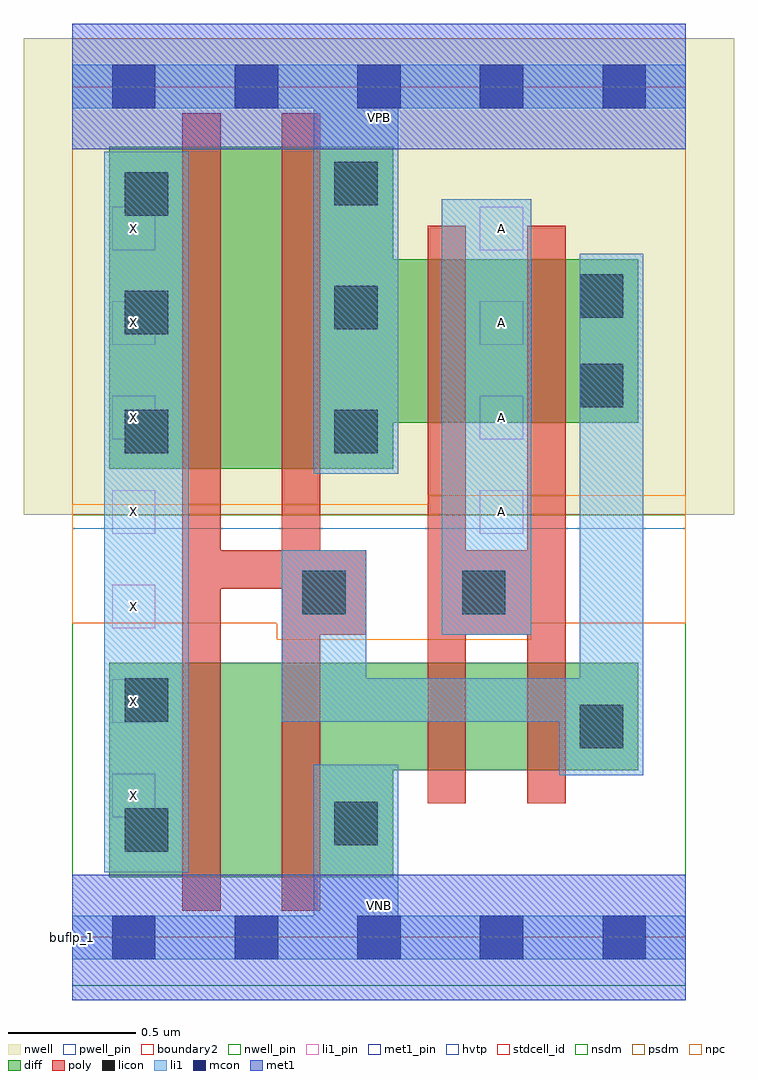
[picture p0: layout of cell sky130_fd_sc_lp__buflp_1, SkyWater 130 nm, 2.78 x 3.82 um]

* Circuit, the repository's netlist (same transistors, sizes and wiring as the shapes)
* Copyright 2020 The SkyWater PDK Authors
*
* Licensed under the Apache License, Version 2.0 (the "License");
* you may not use this file except in compliance with the License.
* You may obtain a copy of the License at
*
*     https://www.apache.org/licenses/LICENSE-2.0
*
* Unless required by applicable law or agreed to in writing, software
* distributed under the License is distributed on an "AS IS" BASIS,
* WITHOUT WARRANTIES OR CONDITIONS OF ANY KIND, either express or implied.
* See the License for the specific language governing permissions and
* limitations under the License.
*
* SPDX-License-Identifier: Apache-2.0

.SUBCKT sky130_fd_sc_lp__buflp_1 A VGND VNB VPB VPWR X
*.PININFO A:I VGND:I VNB:I VPB:I VPWR:I X:O
MI6 net24 Ab VGND VNB sky130_fd_pr__nfet_01v8 m=1 w=0.84U l=0.15U mult=1 sa=0.265
+ sb=0.265 sd=0.28 area=0.063 perim=1.14
MMIN1 Ab A net31 VNB sky130_fd_pr__nfet_01v8 m=1 w=0.42U l=0.15U mult=1 sa=0.265
+ sb=0.265 sd=0.28 area=0.063 perim=1.14
MMIN2 X Ab net24 VNB sky130_fd_pr__nfet_01v8 m=1 w=0.84U l=0.15U mult=1 sa=0.265
+ sb=0.265 sd=0.28 area=0.063 perim=1.14
MI7 net31 A VGND VNB sky130_fd_pr__nfet_01v8 m=1 w=0.42U l=0.15U mult=1 sa=0.265
+ sb=0.265 sd=0.28 area=0.063 perim=1.14
MMIP1 Ab A net47 VPB sky130_fd_pr__pfet_01v8_hvt m=1 w=0.64U l=0.15U mult=1 sa=0.265
+ sb=0.265 sd=0.28 area=0.063 perim=1.14
MI4 net47 A VPWR VPB sky130_fd_pr__pfet_01v8_hvt m=1 w=0.64U l=0.15U mult=1 sa=0.265
+ sb=0.265 sd=0.28 area=0.063 perim=1.14
MMIP2 X Ab net43 VPB sky130_fd_pr__pfet_01v8_hvt m=1 w=1.26U l=0.15U mult=1 sa=0.265
+ sb=0.265 sd=0.28 area=0.063 perim=1.14
MI5 net43 Ab VPWR VPB sky130_fd_pr__pfet_01v8_hvt m=1 w=1.26U l=0.15U mult=1 sa=0.265
+ sb=0.265 sd=0.28 area=0.063 perim=1.14
.ENDS sky130_fd_sc_lp__buflp_1

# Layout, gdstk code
import gdstk
lib = gdstk.Library(unit=1e-6, precision=1e-09)
def R(c, l, rs):  # rectangles x0, y0, x1, y1
    for r in rs: c.add(gdstk.rectangle(r[:2], r[2:], *l))
def A(c, l, x, y, w, h, nx, ny, dx, dy):  # array of equal rectangles
    R(c, l, [(x+i*dx, y+j*dy, x+i*dx+w, y+j*dy+h) for i in range(nx) for j in range(ny)])
def P(c, l, *ps):  # polygons
    for p in ps: c.add(gdstk.Polygon(p, *l))
nwell_pin = (64, 16)
nwell = (64, 20)
diff = (65, 20)
poly = (66, 20)
licon = (66, 44)
li1_pin = (67, 16)
li1 = (67, 20)
mcon = (67, 44)
met1_pin = (68, 16)
met1 = (68, 20)
hvtp = (78, 44)
stdcell_id = (81, 4)
nsdm = (93, 44)
psdm = (94, 20)
npc = (95, 20)
pwell_pin = (122, 16)
boundary2 = (236, 0)

sky130_fd_sc_lp__buflp_1 = lib.new_cell('sky130_fd_sc_lp__buflp_1')
R(sky130_fd_sc_lp__buflp_1, nwell_pin, [(0,3.085,2.4,3.33)])
R(sky130_fd_sc_lp__buflp_1, nwell, [(-0.19,1.655,2.59,3.52)])
P(sky130_fd_sc_lp__buflp_1, diff, [(2.215,2.655),(1.255,2.655),(1.255,3.095),(0.145,3.095),(0.145,1.835),(1.255,1.835),(1.255,2.015),(2.215,2.015)],
  [(2.215,1.075),(0.145,1.075),(0.145,0.235),(1.255,0.235),(1.255,0.655),(2.215,0.655)])
P(sky130_fd_sc_lp__buflp_1, poly, [(1.15,1.515),(0.97,1.515),(0.97,3.225),(0.82,3.225),(0.82,1.515),(0.58,1.515),(0.58,3.225),(0.43,3.225),(0.43,0.105),(0.58,0.105),(0.58,1.365),(0.82,1.365),(0.82,0.105),(0.97,0.105),(0.97,1.185),(1.15,1.185)],
  [(1.93,2.785),(1.78,2.785),(1.78,1.515),(1.54,1.515),(1.54,2.785),(1.39,2.785),(1.39,0.525),(1.54,0.525),(1.54,1.185),(1.78,1.185),(1.78,0.525),(1.93,0.525)])
A(sky130_fd_sc_lp__buflp_1, licon, 0.205, 1.895, 0.17, 0.17, 1, 3, 0, 0.465)
A(sky130_fd_sc_lp__buflp_1, licon, 1.025, 1.895, 0.17, 0.17, 1, 3, 0, 0.485)
R(sky130_fd_sc_lp__buflp_1, licon, [(0.205,0.335,0.375,0.505), (1.025,0.36,1.195,0.53), (1.985,0.74,2.155,0.91), (0.205,0.845,0.375,1.015), (0.9,1.265,1.07,1.435), (1.525,1.265,1.695,1.435), (1.985,2.075,2.155,2.245), (1.985,2.425,2.155,2.595)])
A(sky130_fd_sc_lp__buflp_1, li1_pin, 0.155, 0.47, 0.17, 0.17, 1, 7, 0, 0.37)
A(sky130_fd_sc_lp__buflp_1, li1_pin, 1.595, 1.58, 0.17, 0.17, 1, 4, 0, 0.37)
R(sky130_fd_sc_lp__buflp_1, li1, [(0.125,0.255,0.455,3.075), (1.445,1.185,1.795,2.89)])
P(sky130_fd_sc_lp__buflp_1, li1, [(0.945,1.815),(0.945,3.245),(0,3.245),(0,3.415),(2.4,3.415),(2.4,3.245),(1.275,3.245),(1.275,1.815)],
  [(0.945,0.085),(0.945,0.675),(1.275,0.675),(1.275,0.085),(2.4,0.085),(2.4,-0.085),(0,-0.085),(0,0.085)],
  [(0.82,0.845),(0.82,1.515),(1.15,1.515),(1.15,1.015),(1.985,1.015),(1.985,2.675),(2.235,2.675),(2.235,0.635),(1.905,0.635),(1.905,0.845)])
A(sky130_fd_sc_lp__buflp_1, mcon, 0.155, -0.085, 0.17, 0.17, 5, 2, 0.48, 3.33)
R(sky130_fd_sc_lp__buflp_1, met1_pin, [(0,0,2.4,0.245), (0,3.085,2.4,3.33)])
R(sky130_fd_sc_lp__buflp_1, met1, [(0,-0.245,2.4,0.245), (0,3.085,2.4,3.575)])
R(sky130_fd_sc_lp__buflp_1, hvtp, [(0,1.6,2.4,3.33)])
R(sky130_fd_sc_lp__buflp_1, stdcell_id, [(0,0,2.4,3.33)])
R(sky130_fd_sc_lp__buflp_1, nsdm, [(0,-0.19,2.4,1.655)])
R(sky130_fd_sc_lp__buflp_1, psdm, [(0,1.655,2.4,3.52)])
P(sky130_fd_sc_lp__buflp_1, npc, [(2.4,1.73),(1.395,1.73),(1.395,1.695),(0,1.695),(0,1.23),(0.8,1.23),(0.8,1.165),(1.795,1.165),(1.795,1.23),(2.4,1.23)])
R(sky130_fd_sc_lp__buflp_1, pwell_pin, [(0,0,2.4,0.245)])
R(sky130_fd_sc_lp__buflp_1, boundary2, [(0,0,2.4,3.33)])
sky130_fd_sc_lp__buflp_1.add(gdstk.Label('VNB', (1.2,0.123), layer=64, texttype=59))
sky130_fd_sc_lp__buflp_1.add(gdstk.Label('VPB', (1.2,3.208), layer=64, texttype=5))
sky130_fd_sc_lp__buflp_1.add(gdstk.Label('buflp_1', (0,0), layer=83, texttype=44))
sky130_fd_sc_lp__buflp_1.add(gdstk.Label('VPWR', (1.2,3.208), layer=68, texttype=5))
sky130_fd_sc_lp__buflp_1.add(gdstk.Label('VGND', (1.2,0.123), layer=68, texttype=5))
sky130_fd_sc_lp__buflp_1.add(gdstk.Label('A', (1.68,1.665), layer=67, texttype=5))
sky130_fd_sc_lp__buflp_1.add(gdstk.Label('A', (1.68,2.035), layer=67, texttype=5))
sky130_fd_sc_lp__buflp_1.add(gdstk.Label('A', (1.68,2.405), layer=67, texttype=5))
sky130_fd_sc_lp__buflp_1.add(gdstk.Label('A', (1.68,2.775), layer=67, texttype=5))
sky130_fd_sc_lp__buflp_1.add(gdstk.Label('X', (0.24,0.555), layer=67, texttype=5))
sky130_fd_sc_lp__buflp_1.add(gdstk.Label('X', (0.24,0.925), layer=67, texttype=5))
sky130_fd_sc_lp__buflp_1.add(gdstk.Label('X', (0.24,1.295), layer=67, texttype=5))
sky130_fd_sc_lp__buflp_1.add(gdstk.Label('X', (0.24,1.665), layer=67, texttype=5))
sky130_fd_sc_lp__buflp_1.add(gdstk.Label('X', (0.24,2.035), layer=67, texttype=5))
sky130_fd_sc_lp__buflp_1.add(gdstk.Label('X', (0.24,2.405), layer=67, texttype=5))
sky130_fd_sc_lp__buflp_1.add(gdstk.Label('X', (0.24,2.775), layer=67, texttype=5))

lib.write_gds('sky130_fd_sc_lp__buflp_1.gds')
